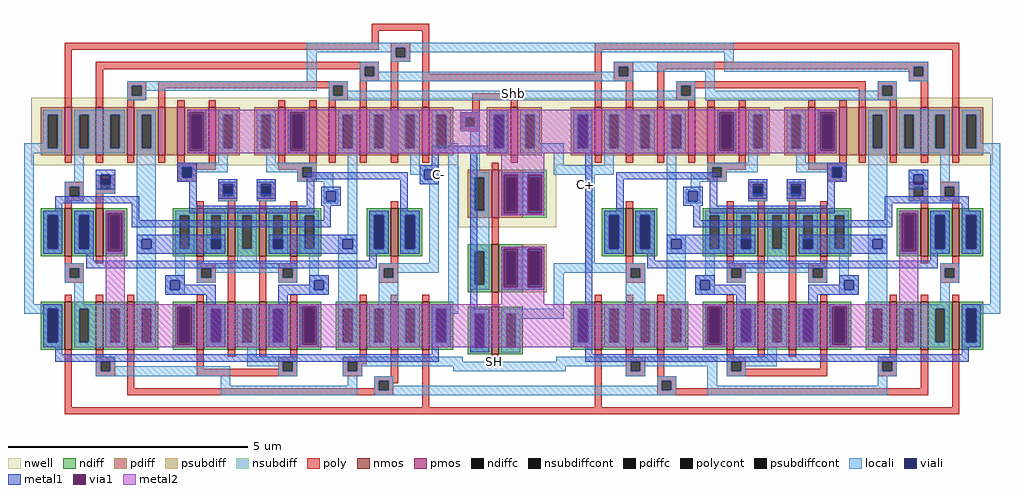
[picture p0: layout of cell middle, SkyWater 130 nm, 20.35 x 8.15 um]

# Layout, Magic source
magic
tech sky130A
<< nwell >>
rect 65 110 2070 250
rect 955 -20 1160 110
<< nmos >>
rect 135 -80 150 20
rect 200 -80 215 20
rect 410 -80 425 20
rect 475 -80 490 20
rect 540 -80 555 20
rect 605 -80 620 20
rect 815 -80 830 20
rect 1025 -155 1040 -55
rect 1305 -80 1320 20
rect 1515 -80 1530 20
rect 1580 -80 1595 20
rect 1645 -80 1660 20
rect 1710 -80 1725 20
rect 1920 -80 1935 20
rect 1985 -80 2000 20
rect 135 -275 150 -175
rect 200 -275 215 -175
rect 265 -275 280 -175
rect 410 -275 425 -175
rect 475 -275 490 -175
rect 540 -275 555 -175
rect 605 -275 620 -175
rect 750 -275 765 -175
rect 815 -275 830 -175
rect 880 -275 895 -175
rect 1025 -285 1040 -185
rect 1240 -275 1255 -175
rect 1305 -275 1320 -175
rect 1370 -275 1385 -175
rect 1515 -275 1530 -175
rect 1580 -275 1595 -175
rect 1645 -275 1660 -175
rect 1710 -275 1725 -175
rect 1855 -275 1870 -175
rect 1920 -275 1935 -175
rect 1985 -275 2000 -175
<< pmos >>
rect 135 130 150 230
rect 200 130 215 230
rect 265 130 280 230
rect 330 130 345 230
rect 370 130 385 230
rect 435 130 450 230
rect 580 130 595 230
rect 645 130 660 230
rect 685 130 700 230
rect 750 130 765 230
rect 815 130 830 230
rect 880 130 895 230
rect 1065 130 1080 230
rect 1240 130 1255 230
rect 1305 130 1320 230
rect 1370 130 1385 230
rect 1435 130 1450 230
rect 1475 130 1490 230
rect 1540 130 1555 230
rect 1685 130 1700 230
rect 1750 130 1765 230
rect 1790 130 1805 230
rect 1855 130 1870 230
rect 1920 130 1935 230
rect 1985 130 2000 230
rect 1025 0 1040 100
<< ndiff >>
rect 85 5 135 20
rect 85 -65 100 5
rect 120 -65 135 5
rect 85 -80 135 -65
rect 150 5 200 20
rect 150 -65 165 5
rect 185 -65 200 5
rect 150 -80 200 -65
rect 215 5 265 20
rect 215 -65 230 5
rect 250 -65 265 5
rect 215 -80 265 -65
rect 360 5 410 20
rect 360 -65 375 5
rect 395 -65 410 5
rect 360 -80 410 -65
rect 425 5 475 20
rect 425 -65 440 5
rect 460 -65 475 5
rect 425 -80 475 -65
rect 490 5 540 20
rect 490 -65 505 5
rect 525 -65 540 5
rect 490 -80 540 -65
rect 555 5 605 20
rect 555 -65 570 5
rect 590 -65 605 5
rect 555 -80 605 -65
rect 620 5 670 20
rect 620 -65 635 5
rect 655 -65 670 5
rect 620 -80 670 -65
rect 765 5 815 20
rect 765 -65 780 5
rect 800 -65 815 5
rect 765 -80 815 -65
rect 830 5 880 20
rect 830 -65 845 5
rect 865 -65 880 5
rect 1255 5 1305 20
rect 830 -80 880 -65
rect 975 -70 1025 -55
rect 975 -140 990 -70
rect 1010 -140 1025 -70
rect 975 -155 1025 -140
rect 1040 -70 1090 -55
rect 1040 -140 1055 -70
rect 1075 -140 1090 -70
rect 1255 -65 1270 5
rect 1290 -65 1305 5
rect 1255 -80 1305 -65
rect 1320 5 1370 20
rect 1320 -65 1335 5
rect 1355 -65 1370 5
rect 1320 -80 1370 -65
rect 1465 5 1515 20
rect 1465 -65 1480 5
rect 1500 -65 1515 5
rect 1465 -80 1515 -65
rect 1530 5 1580 20
rect 1530 -65 1545 5
rect 1565 -65 1580 5
rect 1530 -80 1580 -65
rect 1595 5 1645 20
rect 1595 -65 1610 5
rect 1630 -65 1645 5
rect 1595 -80 1645 -65
rect 1660 5 1710 20
rect 1660 -65 1675 5
rect 1695 -65 1710 5
rect 1660 -80 1710 -65
rect 1725 5 1775 20
rect 1725 -65 1740 5
rect 1760 -65 1775 5
rect 1725 -80 1775 -65
rect 1870 5 1920 20
rect 1870 -65 1885 5
rect 1905 -65 1920 5
rect 1870 -80 1920 -65
rect 1935 5 1985 20
rect 1935 -65 1950 5
rect 1970 -65 1985 5
rect 1935 -80 1985 -65
rect 2000 5 2050 20
rect 2000 -65 2015 5
rect 2035 -65 2050 5
rect 2000 -80 2050 -65
rect 1040 -155 1090 -140
rect 85 -190 135 -175
rect 85 -260 100 -190
rect 120 -260 135 -190
rect 85 -275 135 -260
rect 150 -190 200 -175
rect 150 -260 165 -190
rect 185 -260 200 -190
rect 150 -275 200 -260
rect 215 -190 265 -175
rect 215 -260 230 -190
rect 250 -260 265 -190
rect 215 -275 265 -260
rect 280 -190 330 -175
rect 280 -260 295 -190
rect 315 -260 330 -190
rect 280 -275 330 -260
rect 360 -190 410 -175
rect 360 -260 375 -190
rect 395 -260 410 -190
rect 360 -275 410 -260
rect 425 -190 475 -175
rect 425 -260 440 -190
rect 460 -260 475 -190
rect 425 -275 475 -260
rect 490 -190 540 -175
rect 490 -260 505 -190
rect 525 -260 540 -190
rect 490 -275 540 -260
rect 555 -190 605 -175
rect 555 -260 570 -190
rect 590 -260 605 -190
rect 555 -275 605 -260
rect 620 -190 670 -175
rect 620 -260 635 -190
rect 655 -260 670 -190
rect 620 -275 670 -260
rect 700 -190 750 -175
rect 700 -260 715 -190
rect 735 -260 750 -190
rect 700 -275 750 -260
rect 765 -190 815 -175
rect 765 -260 780 -190
rect 800 -260 815 -190
rect 765 -275 815 -260
rect 830 -190 880 -175
rect 830 -260 845 -190
rect 865 -260 880 -190
rect 830 -275 880 -260
rect 895 -190 945 -175
rect 895 -260 910 -190
rect 930 -260 945 -190
rect 895 -275 945 -260
rect 975 -200 1025 -185
rect 975 -270 990 -200
rect 1010 -270 1025 -200
rect 975 -285 1025 -270
rect 1040 -200 1090 -185
rect 1040 -270 1055 -200
rect 1075 -270 1090 -200
rect 1040 -285 1090 -270
rect 1190 -190 1240 -175
rect 1190 -260 1205 -190
rect 1225 -260 1240 -190
rect 1190 -275 1240 -260
rect 1255 -190 1305 -175
rect 1255 -260 1270 -190
rect 1290 -260 1305 -190
rect 1255 -275 1305 -260
rect 1320 -190 1370 -175
rect 1320 -260 1335 -190
rect 1355 -260 1370 -190
rect 1320 -275 1370 -260
rect 1385 -190 1435 -175
rect 1385 -260 1400 -190
rect 1420 -260 1435 -190
rect 1385 -275 1435 -260
rect 1465 -190 1515 -175
rect 1465 -260 1480 -190
rect 1500 -260 1515 -190
rect 1465 -275 1515 -260
rect 1530 -190 1580 -175
rect 1530 -260 1545 -190
rect 1565 -260 1580 -190
rect 1530 -275 1580 -260
rect 1595 -190 1645 -175
rect 1595 -260 1610 -190
rect 1630 -260 1645 -190
rect 1595 -275 1645 -260
rect 1660 -190 1710 -175
rect 1660 -260 1675 -190
rect 1695 -260 1710 -190
rect 1660 -275 1710 -260
rect 1725 -190 1775 -175
rect 1725 -260 1740 -190
rect 1760 -260 1775 -190
rect 1725 -275 1775 -260
rect 1805 -190 1855 -175
rect 1805 -260 1820 -190
rect 1840 -260 1855 -190
rect 1805 -275 1855 -260
rect 1870 -190 1920 -175
rect 1870 -260 1885 -190
rect 1905 -260 1920 -190
rect 1870 -275 1920 -260
rect 1935 -190 1985 -175
rect 1935 -260 1950 -190
rect 1970 -260 1985 -190
rect 1935 -275 1985 -260
rect 2000 -190 2050 -175
rect 2000 -260 2015 -190
rect 2035 -260 2050 -190
rect 2000 -275 2050 -260
<< pdiff >>
rect 85 215 135 230
rect 85 145 100 215
rect 120 145 135 215
rect 85 130 135 145
rect 150 215 200 230
rect 150 145 165 215
rect 185 145 200 215
rect 150 130 200 145
rect 215 215 265 230
rect 215 145 230 215
rect 250 145 265 215
rect 215 130 265 145
rect 280 215 330 230
rect 280 145 295 215
rect 315 145 330 215
rect 280 130 330 145
rect 345 130 370 230
rect 385 215 435 230
rect 385 145 400 215
rect 420 145 435 215
rect 385 130 435 145
rect 450 215 500 230
rect 450 145 465 215
rect 485 145 500 215
rect 450 130 500 145
rect 530 215 580 230
rect 530 145 545 215
rect 565 145 580 215
rect 530 130 580 145
rect 595 215 645 230
rect 595 145 610 215
rect 630 145 645 215
rect 595 130 645 145
rect 660 130 685 230
rect 700 215 750 230
rect 700 145 715 215
rect 735 145 750 215
rect 700 130 750 145
rect 765 215 815 230
rect 765 145 780 215
rect 800 145 815 215
rect 765 130 815 145
rect 830 215 880 230
rect 830 145 845 215
rect 865 145 880 215
rect 830 130 880 145
rect 895 215 945 230
rect 895 145 910 215
rect 930 145 945 215
rect 1015 215 1065 230
rect 895 130 945 145
rect 1015 145 1030 215
rect 1050 145 1065 215
rect 1015 130 1065 145
rect 1080 215 1130 230
rect 1080 145 1095 215
rect 1115 145 1130 215
rect 1080 130 1130 145
rect 1190 215 1240 230
rect 1190 145 1205 215
rect 1225 145 1240 215
rect 1190 130 1240 145
rect 1255 215 1305 230
rect 1255 145 1270 215
rect 1290 145 1305 215
rect 1255 130 1305 145
rect 1320 215 1370 230
rect 1320 145 1335 215
rect 1355 145 1370 215
rect 1320 130 1370 145
rect 1385 215 1435 230
rect 1385 145 1400 215
rect 1420 145 1435 215
rect 1385 130 1435 145
rect 1450 130 1475 230
rect 1490 215 1540 230
rect 1490 145 1505 215
rect 1525 145 1540 215
rect 1490 130 1540 145
rect 1555 215 1605 230
rect 1555 145 1570 215
rect 1590 145 1605 215
rect 1555 130 1605 145
rect 1635 215 1685 230
rect 1635 145 1650 215
rect 1670 145 1685 215
rect 1635 130 1685 145
rect 1700 215 1750 230
rect 1700 145 1715 215
rect 1735 145 1750 215
rect 1700 130 1750 145
rect 1765 130 1790 230
rect 1805 215 1855 230
rect 1805 145 1820 215
rect 1840 145 1855 215
rect 1805 130 1855 145
rect 1870 215 1920 230
rect 1870 145 1885 215
rect 1905 145 1920 215
rect 1870 130 1920 145
rect 1935 215 1985 230
rect 1935 145 1950 215
rect 1970 145 1985 215
rect 1935 130 1985 145
rect 2000 215 2050 230
rect 2000 145 2015 215
rect 2035 145 2050 215
rect 2000 130 2050 145
rect 975 85 1025 100
rect 975 15 990 85
rect 1010 15 1025 85
rect 975 0 1025 15
rect 1040 85 1090 100
rect 1040 15 1055 85
rect 1075 15 1090 85
rect 1040 0 1090 15
<< ndiffc >>
rect 100 -65 120 5
rect 165 -65 185 5
rect 230 -65 250 5
rect 375 -65 395 5
rect 440 -65 460 5
rect 505 -65 525 5
rect 570 -65 590 5
rect 635 -65 655 5
rect 780 -65 800 5
rect 845 -65 865 5
rect 990 -140 1010 -70
rect 1055 -140 1075 -70
rect 1270 -65 1290 5
rect 1335 -65 1355 5
rect 1480 -65 1500 5
rect 1545 -65 1565 5
rect 1610 -65 1630 5
rect 1675 -65 1695 5
rect 1740 -65 1760 5
rect 1885 -65 1905 5
rect 1950 -65 1970 5
rect 2015 -65 2035 5
rect 100 -260 120 -190
rect 165 -260 185 -190
rect 230 -260 250 -190
rect 295 -260 315 -190
rect 375 -260 395 -190
rect 440 -260 460 -190
rect 505 -260 525 -190
rect 570 -260 590 -190
rect 635 -260 655 -190
rect 715 -260 735 -190
rect 780 -260 800 -190
rect 845 -260 865 -190
rect 910 -260 930 -190
rect 990 -270 1010 -200
rect 1055 -270 1075 -200
rect 1205 -260 1225 -190
rect 1270 -260 1290 -190
rect 1335 -260 1355 -190
rect 1400 -260 1420 -190
rect 1480 -260 1500 -190
rect 1545 -260 1565 -190
rect 1610 -260 1630 -190
rect 1675 -260 1695 -190
rect 1740 -260 1760 -190
rect 1820 -260 1840 -190
rect 1885 -260 1905 -190
rect 1950 -260 1970 -190
rect 2015 -260 2035 -190
<< pdiffc >>
rect 100 145 120 215
rect 165 145 185 215
rect 230 145 250 215
rect 295 145 315 215
rect 400 145 420 215
rect 465 145 485 215
rect 545 145 565 215
rect 610 145 630 215
rect 715 145 735 215
rect 780 145 800 215
rect 845 145 865 215
rect 910 145 930 215
rect 1030 145 1050 215
rect 1095 145 1115 215
rect 1205 145 1225 215
rect 1270 145 1290 215
rect 1335 145 1355 215
rect 1400 145 1420 215
rect 1505 145 1525 215
rect 1570 145 1590 215
rect 1650 145 1670 215
rect 1715 145 1735 215
rect 1820 145 1840 215
rect 1885 145 1905 215
rect 1950 145 1970 215
rect 2015 145 2035 215
rect 990 15 1010 85
rect 1055 15 1075 85
<< psubdiff >>
rect 1090 -70 1140 -55
rect 1090 -140 1105 -70
rect 1125 -140 1140 -70
rect 1090 -155 1140 -140
<< nsubdiff >>
rect 1090 85 1140 100
rect 1090 15 1105 85
rect 1125 15 1140 85
rect 1090 0 1140 15
<< psubdiffcont >>
rect 1105 -140 1125 -70
<< nsubdiffcont >>
rect 1105 15 1125 85
<< poly >>
rect 775 390 895 405
rect 775 365 790 390
rect 135 350 790 365
rect 815 355 855 365
rect 135 230 150 350
rect 815 335 825 355
rect 845 335 855 355
rect 815 325 855 335
rect 200 315 790 325
rect 200 310 760 315
rect 200 230 215 310
rect 750 295 760 310
rect 780 295 790 315
rect 750 285 790 295
rect 265 275 305 285
rect 265 255 275 275
rect 295 255 305 275
rect 265 245 305 255
rect 330 275 725 285
rect 330 270 695 275
rect 265 230 280 245
rect 330 230 345 270
rect 685 255 695 270
rect 715 255 725 275
rect 685 245 725 255
rect 370 230 385 245
rect 435 230 450 245
rect 580 230 595 245
rect 645 230 660 245
rect 685 230 700 245
rect 750 230 765 285
rect 815 230 830 325
rect 880 300 895 390
rect 1240 350 2000 365
rect 1240 300 1255 350
rect 880 285 1255 300
rect 1280 315 1320 325
rect 1280 295 1290 315
rect 1310 295 1320 315
rect 1280 285 1320 295
rect 880 230 895 285
rect 985 245 1080 260
rect 985 220 1000 245
rect 1065 230 1080 245
rect 1240 230 1255 285
rect 1305 230 1320 285
rect 1370 315 1935 325
rect 1370 310 1905 315
rect 1370 230 1385 310
rect 1895 295 1905 310
rect 1925 295 1935 315
rect 1895 285 1935 295
rect 1410 275 1805 285
rect 1410 255 1420 275
rect 1440 270 1805 275
rect 1440 255 1450 270
rect 1410 245 1450 255
rect 1435 230 1450 245
rect 1475 230 1490 245
rect 1540 230 1555 245
rect 1685 230 1700 245
rect 1750 230 1765 245
rect 1790 230 1805 270
rect 1830 275 1870 285
rect 1830 255 1840 275
rect 1860 255 1870 275
rect 1830 245 1870 255
rect 1855 230 1870 245
rect 1920 230 1935 285
rect 1985 230 2000 350
rect 960 210 1000 220
rect 960 190 970 210
rect 990 190 1000 210
rect 960 180 1000 190
rect 135 115 150 130
rect 200 115 215 130
rect 265 115 280 130
rect 330 115 345 130
rect 370 115 385 130
rect 435 115 450 130
rect 370 105 450 115
rect 200 80 240 90
rect 135 65 175 75
rect 135 45 145 65
rect 165 45 175 65
rect 135 35 175 45
rect 200 60 210 80
rect 230 60 240 80
rect 370 85 380 105
rect 400 100 450 105
rect 580 115 595 130
rect 645 115 660 130
rect 685 115 700 130
rect 750 115 765 130
rect 815 115 830 130
rect 880 115 895 130
rect 1065 115 1080 130
rect 1240 115 1255 130
rect 1305 115 1320 130
rect 1370 115 1385 130
rect 1435 115 1450 130
rect 1475 115 1490 130
rect 1540 115 1555 130
rect 580 105 660 115
rect 580 100 630 105
rect 400 85 410 100
rect 370 75 410 85
rect 620 85 630 100
rect 650 85 660 105
rect 1025 100 1040 115
rect 1475 105 1555 115
rect 620 75 660 85
rect 200 50 240 60
rect 455 65 495 75
rect 135 20 150 35
rect 200 20 215 50
rect 455 45 465 65
rect 485 45 495 65
rect 455 35 495 45
rect 535 65 575 75
rect 535 45 545 65
rect 565 45 575 65
rect 535 35 575 45
rect 410 20 425 35
rect 475 20 490 35
rect 540 20 555 35
rect 605 20 620 35
rect 815 20 830 35
rect 1475 85 1485 105
rect 1505 100 1555 105
rect 1685 115 1700 130
rect 1750 115 1765 130
rect 1790 115 1805 130
rect 1855 115 1870 130
rect 1920 115 1935 130
rect 1985 115 2000 130
rect 1685 105 1765 115
rect 1685 100 1735 105
rect 1505 85 1515 100
rect 1475 75 1515 85
rect 1725 85 1735 100
rect 1755 85 1765 105
rect 1725 75 1765 85
rect 1560 65 1600 75
rect 1560 45 1570 65
rect 1590 45 1600 65
rect 1560 35 1600 45
rect 1640 65 1680 75
rect 1640 45 1650 65
rect 1670 45 1680 65
rect 1640 35 1680 45
rect 1895 65 1935 75
rect 1895 45 1905 65
rect 1925 45 1935 65
rect 1895 35 1935 45
rect 1960 65 2000 75
rect 1960 45 1970 65
rect 1990 45 2000 65
rect 1960 35 2000 45
rect 1305 20 1320 35
rect 1515 20 1530 35
rect 1580 20 1595 35
rect 1645 20 1660 35
rect 1710 20 1725 35
rect 1920 20 1935 35
rect 1985 20 2000 35
rect 1025 -55 1040 0
rect 135 -95 150 -80
rect 200 -95 215 -80
rect 410 -95 425 -80
rect 135 -105 175 -95
rect 135 -125 145 -105
rect 165 -125 175 -105
rect 135 -135 175 -125
rect 410 -105 450 -95
rect 410 -125 420 -105
rect 440 -125 450 -105
rect 410 -135 450 -125
rect 135 -175 150 -160
rect 200 -175 215 -160
rect 265 -175 280 -160
rect 410 -175 425 -160
rect 475 -175 490 -80
rect 540 -175 555 -80
rect 605 -95 620 -80
rect 815 -95 830 -80
rect 580 -105 620 -95
rect 580 -125 590 -105
rect 610 -125 620 -105
rect 580 -135 620 -125
rect 790 -105 830 -95
rect 790 -125 800 -105
rect 820 -125 830 -105
rect 790 -135 830 -125
rect 1305 -95 1320 -80
rect 1515 -95 1530 -80
rect 1305 -105 1345 -95
rect 1305 -125 1315 -105
rect 1335 -125 1345 -105
rect 1305 -135 1345 -125
rect 1515 -105 1555 -95
rect 1515 -125 1525 -105
rect 1545 -125 1555 -105
rect 1515 -135 1555 -125
rect 605 -175 620 -160
rect 750 -175 765 -160
rect 815 -175 830 -160
rect 880 -175 895 -160
rect 1025 -185 1040 -155
rect 1240 -175 1255 -160
rect 1305 -175 1320 -160
rect 1370 -175 1385 -160
rect 1515 -175 1530 -160
rect 1580 -175 1595 -80
rect 1645 -175 1660 -80
rect 1710 -95 1725 -80
rect 1920 -95 1935 -80
rect 1985 -95 2000 -80
rect 1685 -105 1725 -95
rect 1685 -125 1695 -105
rect 1715 -125 1725 -105
rect 1685 -135 1725 -125
rect 1960 -105 2000 -95
rect 1960 -125 1970 -105
rect 1990 -125 2000 -105
rect 1960 -135 2000 -125
rect 1710 -175 1725 -160
rect 1855 -175 1870 -160
rect 1920 -175 1935 -160
rect 1985 -175 2000 -160
rect 135 -395 150 -275
rect 200 -290 215 -275
rect 200 -300 240 -290
rect 200 -320 210 -300
rect 230 -320 240 -300
rect 200 -330 240 -320
rect 265 -355 280 -275
rect 410 -315 425 -275
rect 475 -290 490 -275
rect 540 -290 555 -275
rect 605 -290 620 -275
rect 750 -290 765 -275
rect 580 -300 620 -290
rect 580 -315 590 -300
rect 410 -320 590 -315
rect 610 -320 620 -300
rect 410 -330 620 -320
rect 715 -300 765 -290
rect 715 -320 725 -300
rect 745 -305 765 -300
rect 745 -320 755 -305
rect 715 -330 755 -320
rect 815 -330 830 -275
rect 780 -340 830 -330
rect 780 -355 790 -340
rect 265 -360 790 -355
rect 810 -345 830 -340
rect 810 -360 820 -345
rect 265 -370 820 -360
rect 880 -395 895 -275
rect 1025 -300 1040 -285
rect 1240 -395 1255 -275
rect 1305 -290 1320 -275
rect 1305 -300 1345 -290
rect 1305 -320 1315 -300
rect 1335 -320 1345 -300
rect 1305 -330 1345 -320
rect 1370 -330 1385 -275
rect 1515 -290 1530 -275
rect 1580 -290 1595 -275
rect 1645 -290 1660 -275
rect 1515 -300 1555 -290
rect 1515 -320 1525 -300
rect 1545 -315 1555 -300
rect 1710 -315 1725 -275
rect 1855 -290 1870 -275
rect 1545 -320 1725 -315
rect 1515 -330 1725 -320
rect 1830 -300 1870 -290
rect 1830 -320 1840 -300
rect 1860 -320 1870 -300
rect 1830 -330 1870 -320
rect 1370 -340 1410 -330
rect 1370 -360 1380 -340
rect 1400 -355 1410 -340
rect 1920 -355 1935 -275
rect 1400 -360 1935 -355
rect 1370 -370 1935 -360
rect 1985 -395 2000 -275
rect 135 -410 2000 -395
<< polycont >>
rect 825 335 845 355
rect 760 295 780 315
rect 275 255 295 275
rect 695 255 715 275
rect 1290 295 1310 315
rect 1905 295 1925 315
rect 1420 255 1440 275
rect 1840 255 1860 275
rect 970 190 990 210
rect 145 45 165 65
rect 210 60 230 80
rect 380 85 400 105
rect 630 85 650 105
rect 465 45 485 65
rect 545 45 565 65
rect 1485 85 1505 105
rect 1735 85 1755 105
rect 1570 45 1590 65
rect 1650 45 1670 65
rect 1905 45 1925 65
rect 1970 45 1990 65
rect 145 -125 165 -105
rect 420 -125 440 -105
rect 590 -125 610 -105
rect 800 -125 820 -105
rect 1315 -125 1335 -105
rect 1525 -125 1545 -105
rect 1695 -125 1715 -105
rect 1970 -125 1990 -105
rect 210 -320 230 -300
rect 590 -320 610 -300
rect 725 -320 745 -300
rect 790 -360 810 -340
rect 1315 -320 1335 -300
rect 1525 -320 1545 -300
rect 1840 -320 1860 -300
rect 1380 -360 1400 -340
<< locali >>
rect 640 355 1530 365
rect 640 345 825 355
rect 640 285 660 345
rect 815 335 825 345
rect 845 345 1530 355
rect 845 335 855 345
rect 815 325 855 335
rect 1510 325 1530 345
rect 750 315 790 325
rect 750 295 760 315
rect 780 305 790 315
rect 1280 315 1490 325
rect 1280 305 1290 315
rect 780 295 1290 305
rect 1310 305 1490 315
rect 1510 315 1935 325
rect 1510 305 1905 315
rect 1310 295 1320 305
rect 750 285 1320 295
rect 265 275 660 285
rect 265 255 275 275
rect 295 265 660 275
rect 685 275 725 285
rect 295 255 305 265
rect 265 245 305 255
rect 685 255 695 275
rect 715 265 725 275
rect 1410 275 1450 285
rect 1410 265 1420 275
rect 715 255 1420 265
rect 1440 255 1450 275
rect 685 245 1450 255
rect 1470 265 1490 305
rect 1895 295 1905 305
rect 1925 295 1935 315
rect 1895 285 1935 295
rect 1830 275 1870 285
rect 1830 265 1840 275
rect 1470 255 1840 265
rect 1860 255 1870 275
rect 1470 245 1870 255
rect 90 215 130 225
rect 90 155 100 215
rect 50 145 100 155
rect 120 145 130 215
rect 50 135 130 145
rect 155 215 260 225
rect 155 145 165 215
rect 185 145 230 215
rect 250 145 260 215
rect 155 135 260 145
rect 285 215 325 225
rect 285 145 295 215
rect 315 145 325 215
rect 50 -180 70 135
rect 155 75 175 135
rect 135 65 175 75
rect 135 45 145 65
rect 165 45 175 65
rect 200 60 210 90
rect 230 60 240 90
rect 200 50 240 60
rect 135 35 175 45
rect 90 5 130 15
rect 90 -65 100 5
rect 120 -65 130 5
rect 90 -75 130 -65
rect 155 5 195 15
rect 155 -65 165 5
rect 185 -65 195 5
rect 155 -75 195 -65
rect 220 5 260 15
rect 220 -65 230 5
rect 250 -65 260 5
rect 220 -75 260 -65
rect 285 -45 325 145
rect 390 215 430 225
rect 390 145 400 215
rect 420 145 430 215
rect 390 135 430 145
rect 455 215 495 225
rect 455 145 465 215
rect 485 145 495 215
rect 455 135 495 145
rect 535 215 575 225
rect 535 145 545 215
rect 565 145 575 215
rect 535 135 575 145
rect 600 215 640 225
rect 600 145 610 215
rect 630 145 640 215
rect 600 135 640 145
rect 705 215 745 225
rect 705 145 715 215
rect 735 145 745 215
rect 705 135 745 145
rect 770 215 875 225
rect 770 145 780 215
rect 800 145 845 215
rect 865 145 875 215
rect 770 135 875 145
rect 900 215 940 225
rect 900 145 910 215
rect 930 155 940 215
rect 960 210 1000 220
rect 960 190 970 210
rect 990 190 1000 210
rect 960 180 1000 190
rect 930 145 955 155
rect 900 135 955 145
rect 455 115 475 135
rect 370 105 475 115
rect 370 85 380 105
rect 400 95 475 105
rect 555 115 575 135
rect 555 105 660 115
rect 555 95 630 105
rect 400 85 410 95
rect 370 75 410 85
rect 620 85 630 95
rect 650 95 660 105
rect 650 85 695 95
rect 620 75 695 85
rect 455 70 495 75
rect 455 45 465 70
rect 485 45 495 70
rect 455 35 495 45
rect 535 70 575 75
rect 535 45 545 70
rect 565 45 575 70
rect 535 35 575 45
rect 675 60 695 75
rect 675 55 705 60
rect 675 35 680 55
rect 700 35 705 55
rect 675 30 705 35
rect 285 -65 295 -45
rect 315 -65 325 -45
rect 135 -105 175 -95
rect 135 -125 145 -105
rect 165 -125 175 -105
rect 135 -135 175 -125
rect 155 -180 175 -135
rect 50 -190 130 -180
rect 50 -200 100 -190
rect 90 -260 100 -200
rect 120 -260 130 -190
rect 90 -270 130 -260
rect 155 -190 260 -180
rect 155 -260 165 -190
rect 185 -260 230 -190
rect 250 -260 260 -190
rect 155 -270 260 -260
rect 285 -190 325 -65
rect 365 5 405 15
rect 365 -65 375 5
rect 395 -65 405 5
rect 365 -75 405 -65
rect 430 5 470 15
rect 430 -65 440 5
rect 460 -65 470 5
rect 430 -75 470 -65
rect 495 5 535 15
rect 495 -65 505 5
rect 525 -65 535 5
rect 365 -120 385 -75
rect 495 -95 535 -65
rect 560 5 600 15
rect 560 -65 570 5
rect 590 -65 600 5
rect 560 -75 600 -65
rect 625 5 665 15
rect 625 -65 635 5
rect 655 -65 665 5
rect 725 -35 745 135
rect 855 110 875 135
rect 855 100 915 110
rect 855 90 885 100
rect 875 80 885 90
rect 905 80 915 100
rect 875 70 915 80
rect 625 -75 665 -65
rect 345 -130 385 -120
rect 345 -150 355 -130
rect 375 -150 385 -130
rect 410 -105 620 -95
rect 410 -125 420 -105
rect 440 -115 590 -105
rect 440 -125 450 -115
rect 410 -135 450 -125
rect 580 -125 590 -115
rect 610 -125 620 -105
rect 580 -135 620 -125
rect 645 -120 665 -75
rect 705 -45 745 -35
rect 705 -65 715 -45
rect 735 -65 745 -45
rect 645 -130 685 -120
rect 345 -160 385 -150
rect 645 -150 655 -130
rect 675 -150 685 -130
rect 645 -160 685 -150
rect 285 -260 295 -190
rect 315 -260 325 -190
rect 285 -270 325 -260
rect 365 -190 405 -180
rect 365 -260 375 -190
rect 395 -260 405 -190
rect 365 -270 405 -260
rect 430 -190 470 -180
rect 430 -260 440 -190
rect 460 -260 470 -190
rect 430 -270 470 -260
rect 495 -190 535 -180
rect 495 -260 505 -190
rect 525 -260 535 -190
rect 495 -270 535 -260
rect 560 -190 600 -180
rect 560 -260 570 -190
rect 590 -260 600 -190
rect 560 -270 600 -260
rect 625 -190 665 -180
rect 625 -260 635 -190
rect 655 -260 665 -190
rect 625 -270 665 -260
rect 705 -190 745 -65
rect 770 5 810 15
rect 770 -65 780 5
rect 800 -65 810 5
rect 770 -75 810 -65
rect 835 5 875 15
rect 835 -65 845 5
rect 865 -65 875 5
rect 835 -75 875 -65
rect 895 -95 915 70
rect 790 -105 915 -95
rect 790 -125 800 -105
rect 820 -115 915 -105
rect 820 -125 830 -115
rect 790 -180 830 -125
rect 935 -180 955 135
rect 980 95 1000 180
rect 1020 215 1060 225
rect 1020 145 1030 215
rect 1050 145 1060 215
rect 1020 135 1060 145
rect 1085 215 1125 225
rect 1085 145 1095 215
rect 1115 155 1125 215
rect 1195 215 1235 225
rect 1115 145 1175 155
rect 1085 135 1175 145
rect 1195 145 1205 215
rect 1225 145 1235 215
rect 1195 135 1235 145
rect 1260 215 1365 225
rect 1260 145 1270 215
rect 1290 145 1335 215
rect 1355 145 1365 215
rect 1260 135 1365 145
rect 1390 215 1430 225
rect 1390 145 1400 215
rect 1420 145 1430 215
rect 1390 135 1430 145
rect 1495 215 1535 225
rect 1495 145 1505 215
rect 1525 145 1535 215
rect 1495 135 1535 145
rect 1560 215 1600 225
rect 1560 145 1570 215
rect 1590 145 1600 215
rect 1560 135 1600 145
rect 1640 215 1680 225
rect 1640 145 1650 215
rect 1670 145 1680 215
rect 1640 135 1680 145
rect 1705 215 1745 225
rect 1705 145 1715 215
rect 1735 145 1745 215
rect 1705 135 1745 145
rect 1810 215 1850 225
rect 1810 145 1820 215
rect 1840 145 1850 215
rect 1155 110 1175 135
rect 1260 110 1280 135
rect 980 85 1020 95
rect 980 15 990 85
rect 1010 15 1020 85
rect 980 -70 1020 15
rect 1045 85 1135 95
rect 1155 90 1280 110
rect 1045 15 1055 85
rect 1075 15 1105 85
rect 1125 15 1135 85
rect 1045 5 1135 15
rect 980 -140 990 -70
rect 1010 -140 1020 -70
rect 980 -150 1020 -140
rect 1045 -70 1135 -60
rect 1045 -140 1055 -70
rect 1075 -140 1105 -70
rect 1125 -140 1135 -70
rect 1220 -95 1240 90
rect 1260 5 1300 15
rect 1260 -65 1270 5
rect 1290 -65 1300 5
rect 1260 -75 1300 -65
rect 1325 5 1365 15
rect 1325 -65 1335 5
rect 1355 -65 1365 5
rect 1325 -75 1365 -65
rect 1390 -35 1410 135
rect 1560 115 1580 135
rect 1475 105 1580 115
rect 1475 95 1485 105
rect 1440 85 1485 95
rect 1505 95 1580 105
rect 1660 115 1680 135
rect 1660 105 1765 115
rect 1660 95 1735 105
rect 1505 85 1515 95
rect 1440 75 1515 85
rect 1725 85 1735 95
rect 1755 85 1765 105
rect 1725 75 1765 85
rect 1440 60 1460 75
rect 1430 55 1460 60
rect 1430 35 1435 55
rect 1455 35 1460 55
rect 1560 70 1600 75
rect 1560 45 1570 70
rect 1590 45 1600 70
rect 1560 35 1600 45
rect 1640 70 1680 75
rect 1640 45 1650 70
rect 1670 45 1680 70
rect 1640 35 1680 45
rect 1430 30 1460 35
rect 1470 5 1510 15
rect 1390 -45 1430 -35
rect 1390 -65 1400 -45
rect 1420 -65 1430 -45
rect 1045 -150 1135 -140
rect 1155 -105 1345 -95
rect 1155 -115 1315 -105
rect 705 -260 715 -190
rect 735 -260 745 -190
rect 705 -270 745 -260
rect 770 -190 875 -180
rect 770 -260 780 -190
rect 800 -260 845 -190
rect 865 -260 875 -190
rect 770 -270 875 -260
rect 900 -190 955 -180
rect 1155 -190 1175 -115
rect 1305 -125 1315 -115
rect 1335 -125 1345 -105
rect 1305 -180 1345 -125
rect 900 -260 910 -190
rect 930 -200 955 -190
rect 980 -200 1020 -190
rect 930 -260 940 -200
rect 900 -270 940 -260
rect 980 -270 990 -200
rect 1010 -270 1020 -200
rect 515 -290 535 -270
rect 980 -280 1020 -270
rect 1045 -200 1175 -190
rect 1045 -270 1055 -200
rect 1075 -210 1175 -200
rect 1195 -190 1235 -180
rect 1075 -270 1085 -210
rect 1195 -260 1205 -190
rect 1225 -260 1235 -190
rect 1195 -270 1235 -260
rect 1260 -190 1365 -180
rect 1260 -260 1270 -190
rect 1290 -260 1335 -190
rect 1355 -260 1365 -190
rect 1260 -270 1365 -260
rect 1390 -190 1430 -65
rect 1470 -65 1480 5
rect 1500 -65 1510 5
rect 1470 -75 1510 -65
rect 1535 5 1575 15
rect 1535 -65 1545 5
rect 1565 -65 1575 5
rect 1535 -75 1575 -65
rect 1600 5 1640 15
rect 1600 -65 1610 5
rect 1630 -65 1640 5
rect 1470 -120 1490 -75
rect 1600 -95 1640 -65
rect 1665 5 1705 15
rect 1665 -65 1675 5
rect 1695 -65 1705 5
rect 1665 -75 1705 -65
rect 1730 5 1770 15
rect 1730 -65 1740 5
rect 1760 -65 1770 5
rect 1730 -75 1770 -65
rect 1450 -130 1490 -120
rect 1450 -150 1460 -130
rect 1480 -150 1490 -130
rect 1515 -105 1725 -95
rect 1515 -125 1525 -105
rect 1545 -115 1695 -105
rect 1545 -125 1555 -115
rect 1515 -135 1555 -125
rect 1685 -125 1695 -115
rect 1715 -125 1725 -105
rect 1685 -135 1725 -125
rect 1750 -120 1770 -75
rect 1810 -45 1850 145
rect 1875 215 1980 225
rect 1875 145 1885 215
rect 1905 145 1950 215
rect 1970 145 1980 215
rect 1875 135 1980 145
rect 2005 215 2045 225
rect 2005 145 2015 215
rect 2035 155 2045 215
rect 2035 145 2085 155
rect 2005 135 2085 145
rect 1895 90 1935 100
rect 1895 70 1905 90
rect 1925 70 1935 90
rect 1895 65 1935 70
rect 1895 45 1905 65
rect 1925 45 1935 65
rect 1895 35 1935 45
rect 1960 75 1980 135
rect 1960 65 2000 75
rect 1960 45 1970 65
rect 1990 45 2000 65
rect 1960 35 2000 45
rect 1810 -65 1820 -45
rect 1840 -65 1850 -45
rect 1750 -130 1790 -120
rect 1450 -160 1490 -150
rect 1750 -150 1760 -130
rect 1780 -150 1790 -130
rect 1750 -160 1790 -150
rect 1390 -260 1400 -190
rect 1420 -260 1430 -190
rect 1390 -270 1430 -260
rect 1470 -190 1510 -180
rect 1470 -260 1480 -190
rect 1500 -260 1510 -190
rect 1470 -270 1510 -260
rect 1535 -190 1575 -180
rect 1535 -260 1545 -190
rect 1565 -260 1575 -190
rect 1535 -270 1575 -260
rect 1600 -190 1640 -180
rect 1600 -260 1610 -190
rect 1630 -260 1640 -190
rect 1600 -270 1640 -260
rect 1665 -190 1705 -180
rect 1665 -260 1675 -190
rect 1695 -260 1705 -190
rect 1665 -270 1705 -260
rect 1730 -190 1770 -180
rect 1730 -260 1740 -190
rect 1760 -260 1770 -190
rect 1730 -270 1770 -260
rect 1810 -190 1850 -65
rect 1875 5 1915 15
rect 1875 -65 1885 5
rect 1905 -65 1915 5
rect 1875 -75 1915 -65
rect 1940 5 1980 15
rect 1940 -65 1950 5
rect 1970 -65 1980 5
rect 1940 -75 1980 -65
rect 2005 5 2045 15
rect 2005 -65 2015 5
rect 2035 -65 2045 5
rect 2005 -75 2045 -65
rect 1960 -105 2000 -95
rect 1960 -125 1970 -105
rect 1990 -125 2000 -105
rect 1960 -135 2000 -125
rect 1960 -180 1980 -135
rect 2065 -180 2085 135
rect 1810 -260 1820 -190
rect 1840 -260 1850 -190
rect 1810 -270 1850 -260
rect 1875 -190 1980 -180
rect 1875 -260 1885 -190
rect 1905 -260 1950 -190
rect 1970 -260 1980 -190
rect 1875 -270 1980 -260
rect 2005 -190 2085 -180
rect 2005 -260 2015 -190
rect 2035 -200 2085 -190
rect 2035 -260 2045 -200
rect 2005 -270 2045 -260
rect 1045 -280 1085 -270
rect 1600 -290 1620 -270
rect 200 -300 240 -290
rect 200 -320 210 -300
rect 230 -310 240 -300
rect 515 -300 620 -290
rect 515 -310 590 -300
rect 230 -320 480 -310
rect 200 -330 480 -320
rect 580 -320 590 -310
rect 610 -320 620 -300
rect 580 -330 620 -320
rect 715 -300 965 -290
rect 1160 -300 1495 -290
rect 715 -320 725 -300
rect 745 -310 1315 -300
rect 745 -320 755 -310
rect 945 -320 1180 -310
rect 1305 -320 1315 -310
rect 1335 -310 1495 -300
rect 1335 -320 1345 -310
rect 715 -330 755 -320
rect 1305 -330 1345 -320
rect 460 -350 480 -330
rect 725 -350 745 -330
rect 460 -370 745 -350
rect 780 -340 820 -330
rect 780 -360 790 -340
rect 810 -350 820 -340
rect 1370 -340 1410 -330
rect 1370 -350 1380 -340
rect 810 -360 1380 -350
rect 1400 -360 1410 -340
rect 780 -370 1410 -360
rect 1475 -350 1495 -310
rect 1515 -300 1620 -290
rect 1515 -320 1525 -300
rect 1545 -310 1620 -300
rect 1830 -300 1870 -290
rect 1545 -320 1555 -310
rect 1515 -330 1555 -320
rect 1830 -320 1840 -300
rect 1860 -320 1870 -300
rect 1830 -330 1870 -320
rect 1830 -350 1850 -330
rect 1475 -370 1850 -350
<< viali >>
rect 210 80 230 90
rect 210 70 230 80
rect 100 -65 120 5
rect 165 -65 185 5
rect 230 -65 250 5
rect 400 145 420 215
rect 610 145 630 215
rect 380 85 400 105
rect 465 65 485 70
rect 465 50 485 65
rect 545 65 565 70
rect 545 50 565 65
rect 680 35 700 55
rect 295 -65 315 -45
rect 100 -260 120 -190
rect 440 -65 460 -45
rect 570 -65 590 -45
rect 885 80 905 100
rect 355 -150 375 -130
rect 715 -65 735 -45
rect 655 -150 675 -130
rect 375 -260 395 -190
rect 440 -260 460 -190
rect 570 -260 590 -190
rect 635 -260 655 -190
rect 780 -65 800 5
rect 845 -65 865 5
rect 1030 145 1050 215
rect 1205 145 1225 215
rect 1505 145 1525 215
rect 1715 145 1735 215
rect 1055 15 1075 85
rect 1105 15 1125 85
rect 1055 -140 1075 -70
rect 1105 -140 1125 -70
rect 1270 -65 1290 5
rect 1335 -65 1355 5
rect 1735 85 1755 105
rect 1435 35 1455 55
rect 1570 65 1590 70
rect 1570 50 1590 65
rect 1650 65 1670 70
rect 1650 50 1670 65
rect 1400 -65 1420 -45
rect 910 -260 930 -190
rect 990 -270 1010 -200
rect 1205 -260 1225 -190
rect 1545 -65 1565 -45
rect 1675 -65 1695 -45
rect 1460 -150 1480 -130
rect 1905 70 1925 90
rect 1820 -65 1840 -45
rect 1760 -150 1780 -130
rect 1480 -260 1500 -190
rect 1545 -260 1565 -190
rect 1675 -260 1695 -190
rect 1740 -260 1760 -190
rect 1885 -65 1905 5
rect 1950 -65 1970 5
rect 2015 -65 2035 5
rect 2015 -260 2035 -190
<< metal1 >>
rect 390 220 430 225
rect 390 140 395 220
rect 425 140 430 220
rect 390 135 430 140
rect 600 220 640 225
rect 600 140 605 220
rect 635 140 640 220
rect 1020 215 1060 225
rect 1020 150 1030 215
rect 600 135 640 140
rect 900 145 1030 150
rect 1050 145 1060 215
rect 900 135 1060 145
rect 1195 215 1235 225
rect 1195 145 1205 215
rect 1225 145 1235 215
rect 1195 135 1235 145
rect 1495 220 1535 225
rect 1495 140 1500 220
rect 1530 140 1535 220
rect 1495 135 1535 140
rect 1705 220 1745 225
rect 1705 140 1710 220
rect 1740 140 1745 220
rect 1705 135 1745 140
rect 370 105 410 115
rect 900 110 915 135
rect 200 90 240 100
rect 200 70 210 90
rect 230 70 240 90
rect 370 85 380 105
rect 400 85 410 105
rect 875 100 915 110
rect 370 75 410 85
rect 640 80 850 95
rect 200 60 240 70
rect 115 30 290 45
rect 115 15 130 30
rect 90 5 130 15
rect 90 -65 100 5
rect 120 -65 130 5
rect 90 -75 130 -65
rect 155 5 195 15
rect 155 -65 165 5
rect 185 -65 195 5
rect 155 -75 195 -65
rect 220 10 260 15
rect 220 -70 225 10
rect 255 -70 260 10
rect 275 -5 290 30
rect 395 25 410 75
rect 455 70 495 80
rect 455 50 465 70
rect 485 50 495 70
rect 455 40 495 50
rect 535 70 575 80
rect 535 50 545 70
rect 565 50 575 70
rect 535 40 575 50
rect 640 25 655 80
rect 670 55 710 65
rect 670 35 680 55
rect 700 35 710 55
rect 670 25 710 35
rect 395 10 655 25
rect 675 -5 690 25
rect 835 15 850 80
rect 875 80 885 100
rect 905 80 915 100
rect 875 70 915 80
rect 275 -20 690 -5
rect 770 5 810 15
rect 220 -75 260 -70
rect 285 -45 470 -35
rect 285 -65 295 -45
rect 315 -65 440 -45
rect 460 -65 470 -45
rect 285 -75 470 -65
rect 560 -45 745 -35
rect 560 -65 570 -45
rect 590 -65 715 -45
rect 735 -65 745 -45
rect 560 -75 745 -65
rect 770 -65 780 5
rect 800 -65 810 5
rect 770 -75 810 -65
rect 835 5 875 15
rect 835 -65 845 5
rect 865 -65 875 5
rect 835 -75 875 -65
rect 180 -90 195 -75
rect 770 -90 785 -75
rect 180 -105 785 -90
rect 345 -130 385 -120
rect 345 -150 355 -130
rect 375 -140 385 -130
rect 645 -130 685 -120
rect 645 -140 655 -130
rect 375 -150 450 -140
rect 345 -160 450 -150
rect 430 -180 450 -160
rect 580 -150 655 -140
rect 675 -150 685 -130
rect 580 -160 685 -150
rect 580 -180 600 -160
rect 90 -190 130 -180
rect 90 -260 100 -190
rect 120 -260 130 -190
rect 90 -270 130 -260
rect 365 -185 405 -180
rect 365 -265 370 -185
rect 400 -265 405 -185
rect 365 -270 405 -265
rect 430 -190 470 -180
rect 430 -260 440 -190
rect 460 -260 470 -190
rect 430 -270 470 -260
rect 560 -190 600 -180
rect 560 -260 570 -190
rect 590 -260 600 -190
rect 560 -270 600 -260
rect 625 -185 665 -180
rect 625 -265 630 -185
rect 660 -265 665 -185
rect 625 -270 665 -265
rect 900 -190 940 -180
rect 900 -260 910 -190
rect 930 -260 940 -190
rect 900 -270 940 -260
rect 980 -190 995 135
rect 1045 90 1135 95
rect 1045 10 1050 90
rect 1080 10 1100 90
rect 1130 10 1135 90
rect 1045 5 1135 10
rect 1045 -65 1135 -60
rect 1045 -145 1050 -65
rect 1080 -145 1100 -65
rect 1130 -145 1135 -65
rect 1045 -150 1135 -145
rect 1220 -180 1235 135
rect 1725 105 1765 115
rect 1285 80 1495 95
rect 1725 85 1735 105
rect 1755 85 1765 105
rect 1285 15 1300 80
rect 1425 55 1465 65
rect 1425 35 1435 55
rect 1455 35 1465 55
rect 1425 25 1465 35
rect 1480 25 1495 80
rect 1560 70 1600 80
rect 1560 50 1570 70
rect 1590 50 1600 70
rect 1560 40 1600 50
rect 1640 70 1680 80
rect 1640 50 1650 70
rect 1670 50 1680 70
rect 1640 40 1680 50
rect 1725 75 1765 85
rect 1895 90 1935 100
rect 1725 25 1740 75
rect 1895 70 1905 90
rect 1925 70 1935 90
rect 1895 60 1935 70
rect 1260 5 1300 15
rect 1260 -65 1270 5
rect 1290 -65 1300 5
rect 1260 -75 1300 -65
rect 1325 5 1365 15
rect 1325 -65 1335 5
rect 1355 -65 1365 5
rect 1445 -5 1460 25
rect 1480 10 1740 25
rect 1845 30 2020 45
rect 1845 -5 1860 30
rect 2005 15 2020 30
rect 1445 -20 1860 -5
rect 1875 10 1915 15
rect 1325 -75 1365 -65
rect 1390 -45 1575 -35
rect 1390 -65 1400 -45
rect 1420 -65 1545 -45
rect 1565 -65 1575 -45
rect 1390 -75 1575 -65
rect 1665 -45 1850 -35
rect 1665 -65 1675 -45
rect 1695 -65 1820 -45
rect 1840 -65 1850 -45
rect 1665 -75 1850 -65
rect 1875 -70 1880 10
rect 1910 -70 1915 10
rect 1875 -75 1915 -70
rect 1940 5 1980 15
rect 1940 -65 1950 5
rect 1970 -65 1980 5
rect 1940 -75 1980 -65
rect 2005 5 2045 15
rect 2005 -65 2015 5
rect 2035 -65 2045 5
rect 2005 -75 2045 -65
rect 1350 -90 1365 -75
rect 1940 -90 1955 -75
rect 1350 -105 1955 -90
rect 1450 -130 1490 -120
rect 1450 -150 1460 -130
rect 1480 -140 1490 -130
rect 1750 -130 1790 -120
rect 1750 -140 1760 -130
rect 1480 -150 1555 -140
rect 1450 -160 1555 -150
rect 1535 -180 1555 -160
rect 1685 -150 1760 -140
rect 1780 -150 1790 -130
rect 1685 -160 1790 -150
rect 1685 -180 1705 -160
rect 1195 -190 1235 -180
rect 980 -200 1020 -190
rect 980 -270 990 -200
rect 1010 -270 1020 -200
rect 1195 -260 1205 -190
rect 1225 -260 1235 -190
rect 1195 -270 1235 -260
rect 1470 -185 1510 -180
rect 1470 -265 1475 -185
rect 1505 -265 1510 -185
rect 1470 -270 1510 -265
rect 1535 -190 1575 -180
rect 1535 -260 1545 -190
rect 1565 -260 1575 -190
rect 1535 -270 1575 -260
rect 1665 -190 1705 -180
rect 1665 -260 1675 -190
rect 1695 -260 1705 -190
rect 1665 -270 1705 -260
rect 1730 -185 1770 -180
rect 1730 -265 1735 -185
rect 1765 -265 1770 -185
rect 1730 -270 1770 -265
rect 2005 -190 2045 -180
rect 2005 -260 2015 -190
rect 2035 -260 2045 -190
rect 2005 -270 2045 -260
rect 115 -285 130 -270
rect 900 -285 915 -270
rect 980 -280 1020 -270
rect 115 -300 915 -285
rect 1220 -285 1235 -270
rect 2005 -285 2020 -270
rect 1220 -300 2020 -285
<< via1 >>
rect 395 215 425 220
rect 395 145 400 215
rect 400 145 420 215
rect 420 145 425 215
rect 395 140 425 145
rect 605 215 635 220
rect 605 145 610 215
rect 610 145 630 215
rect 630 145 635 215
rect 605 140 635 145
rect 1500 215 1530 220
rect 1500 145 1505 215
rect 1505 145 1525 215
rect 1525 145 1530 215
rect 1500 140 1530 145
rect 1710 215 1740 220
rect 1710 145 1715 215
rect 1715 145 1735 215
rect 1735 145 1740 215
rect 1710 140 1740 145
rect 225 5 255 10
rect 225 -65 230 5
rect 230 -65 250 5
rect 250 -65 255 5
rect 225 -70 255 -65
rect 370 -190 400 -185
rect 370 -260 375 -190
rect 375 -260 395 -190
rect 395 -260 400 -190
rect 370 -265 400 -260
rect 630 -190 660 -185
rect 630 -260 635 -190
rect 635 -260 655 -190
rect 655 -260 660 -190
rect 630 -265 660 -260
rect 1050 85 1080 90
rect 1050 15 1055 85
rect 1055 15 1075 85
rect 1075 15 1080 85
rect 1050 10 1080 15
rect 1100 85 1130 90
rect 1100 15 1105 85
rect 1105 15 1125 85
rect 1125 15 1130 85
rect 1100 10 1130 15
rect 1050 -70 1080 -65
rect 1050 -140 1055 -70
rect 1055 -140 1075 -70
rect 1075 -140 1080 -70
rect 1050 -145 1080 -140
rect 1100 -70 1130 -65
rect 1100 -140 1105 -70
rect 1105 -140 1125 -70
rect 1125 -140 1130 -70
rect 1100 -145 1130 -140
rect 1880 5 1910 10
rect 1880 -65 1885 5
rect 1885 -65 1905 5
rect 1905 -65 1910 5
rect 1880 -70 1910 -65
rect 1475 -190 1505 -185
rect 1475 -260 1480 -190
rect 1480 -260 1500 -190
rect 1500 -260 1505 -190
rect 1475 -265 1505 -260
rect 1735 -190 1765 -185
rect 1735 -260 1740 -190
rect 1740 -260 1760 -190
rect 1760 -260 1765 -190
rect 1735 -265 1765 -260
<< metal2 >>
rect 390 220 1745 225
rect 390 140 395 220
rect 425 140 605 220
rect 635 140 1500 220
rect 1530 140 1710 220
rect 1740 140 1745 220
rect 390 135 1745 140
rect 1045 90 1135 135
rect 220 10 260 15
rect 220 -70 225 10
rect 255 -70 260 10
rect 1045 10 1050 90
rect 1080 10 1100 90
rect 1130 10 1135 90
rect 1045 5 1135 10
rect 1875 10 1915 15
rect 220 -180 260 -70
rect 1045 -65 1135 -60
rect 1045 -145 1050 -65
rect 1080 -145 1100 -65
rect 1130 -145 1135 -65
rect 1045 -180 1135 -145
rect 1875 -70 1880 10
rect 1910 -70 1915 10
rect 1875 -180 1915 -70
rect 220 -185 1915 -180
rect 220 -265 370 -185
rect 400 -265 630 -185
rect 660 -265 1475 -185
rect 1505 -265 1735 -185
rect 1765 -265 1915 -185
rect 220 -270 1915 -265
<< labels >>
rlabel poly 1030 -300 1030 -300 5 SH
rlabel poly 1070 260 1070 260 1 Shb
rlabel locali 915 90 915 90 3 C-
rlabel locali 1220 70 1220 70 7 C+
<< end >>
